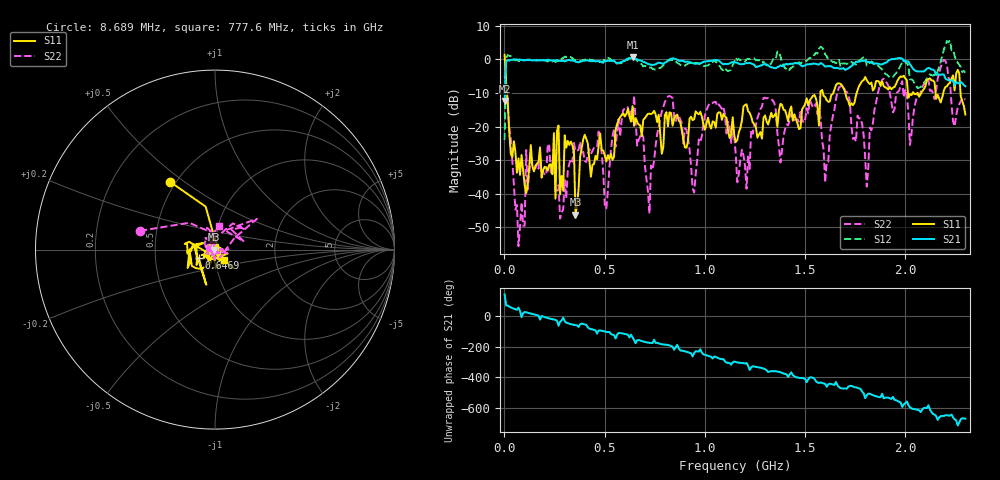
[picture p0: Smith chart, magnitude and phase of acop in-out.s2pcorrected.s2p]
# Hz S DB R 50.000000
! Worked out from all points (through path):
!   300 points, 1 MHz to 2.3 GHz, reference 50 ohm
!   highest |S21| = 0.72 dB at 639.2 MHz (marker M1); lowest = -12.3 dB at 1 MHz (marker M2)
!   lowest |S11| = -46.2 dB at 354.7 MHz (marker M3), VSWR 1.01, Z = 49.5 + j0.0222 ohm
!   |S11| at or under -10 dB: 13.17 MHz to 1.577 GHz (1.564 GHz wide, 197 % of centre); 1.589 GHz to 1.64 GHz (51.37 MHz wide, 3.18 % of centre); 1.701 GHz to 1.758 GHz (56.38 MHz wide, 3.26 % of centre)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
!   |S22| runs from -55.6 to -0.1 dB; largest |S21 - S12| = 2.4
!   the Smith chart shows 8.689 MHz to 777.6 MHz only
!   S11 on the Smith chart (normalised r, x): 8.689 MHz: 0.47, +0.44; 646.9 MHz: 0.83, -0.08; 777.6 MHz: 1.09, -0.13
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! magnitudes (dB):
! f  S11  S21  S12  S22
! 1 MHz  1.4  -12.3  -24.0  -4.8
! 8.689 MHz  -6.9  -0.7  0.4  -7.3
! 70.2 MHz  -29.5  -0.1  -0.4  -55.6
! 108.6 MHz  -39.8  -0.2  -0.1  -27.0
! 247 MHz  -22.0  -0.3  -0.3  -26.7
! 254.7 MHz  -41.5  -0.4  -0.8  -39.0
! 270.1 MHz  -19.7  -0.5  -0.4  -37.4
! 354.7 MHz  -46.2  -0.6  -0.2  -27.3
! 385.4 MHz  -26.5  -0.5  -0.3  -27.7
! 508.5 MHz  -30.4  -0.5  0.5  -44.4
! 639.2 MHz  -13.9  0.7  1.0  -18.4
! 646.9 MHz  -19.8  0.4  0.3  -10.8
! 723.8 MHz  -16.1  -1.5  -2.4  -45.9
! 769.9 MHz  -16.5  -0.9  -2.7  -20.1
! 777.6 MHz  -22.5  -1.0  -2.5  -17.5
! 1.154 GHz  -24.6  -0.9  0.5  -28.4
! 1.539 GHz  -10.8  -1.2  0.8  -14.4
! 1.6 GHz  -11.2  -2.1  1.5  -36.7
! 1.693 GHz  -8.7  -2.6  -1.2  -8.0
! 1.808 GHz  -6.1  -0.8  -1.8  -37.9
! 1.923 GHz  -8.2  -0.1  -5.4  -10.1
! 2.3 GHz  -16.4  -8.0  -3.9  -11.9
